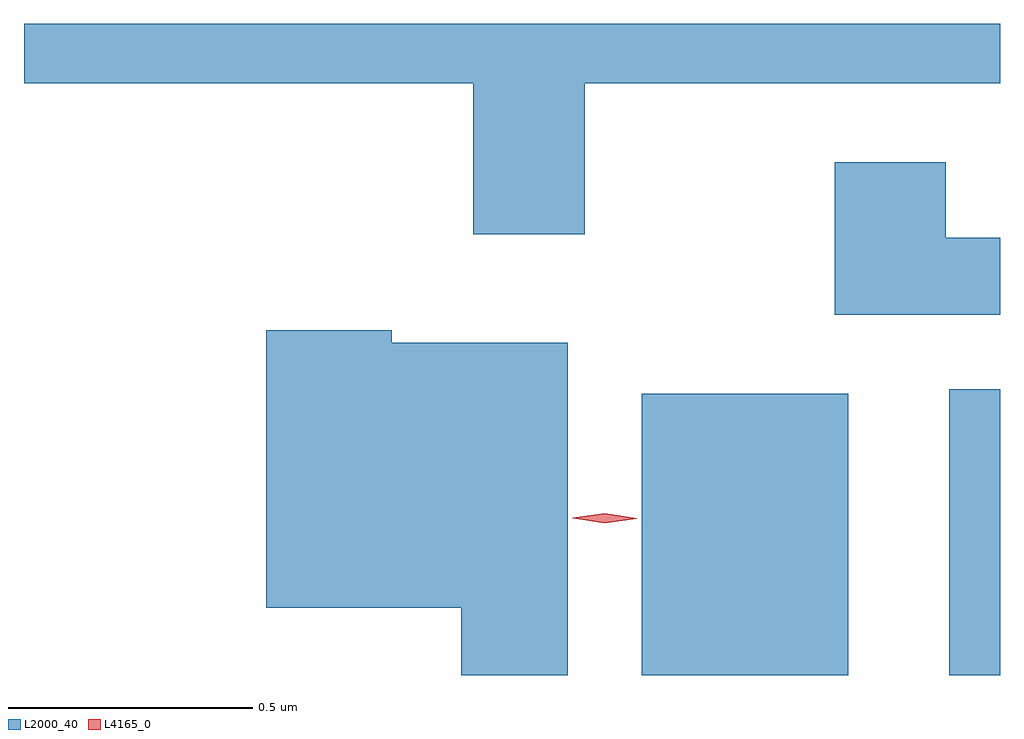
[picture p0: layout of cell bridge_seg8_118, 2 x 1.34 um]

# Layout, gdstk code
import gdstk
lib = gdstk.Library(unit=1e-6, precision=1e-09)
def R(c, l, rs):  # rectangles x0, y0, x1, y1
    for r in rs: c.add(gdstk.rectangle(r[:2], r[2:], *l))
def P(c, l, *ps):  # polygons
    for p in ps: c.add(gdstk.Polygon(p, *l))
L2000_40 = (2000, 40)
L4165_0 = (4165, 0)

bridge_seg8_118 = lib.new_cell('bridge_seg8_118')
R(bridge_seg8_118, L2000_40, [(1707.876,1806.342,1708.299,1806.919), (1708.506,1806.342,1708.61,1806.929)])
P(bridge_seg8_118, L2000_40, [(1707.759,1807.556),(1708.61,1807.556),(1708.61,1807.678),(1706.61,1807.678),(1706.61,1807.556),(1707.531,1807.556),(1707.531,1807.246),(1707.759,1807.246)],
  [(1708.61,1807.239),(1708.499,1807.239),(1708.499,1807.394),(1708.271,1807.394),(1708.271,1807.081),(1708.61,1807.081)],
  [(1707.724,1807.024),(1707.364,1807.024),(1707.364,1807.049),(1707.106,1807.049),(1707.106,1806.481),(1707.506,1806.481),(1707.506,1806.342),(1707.724,1806.342)])
P(bridge_seg8_118, L4165_0, [(1707.8,1806.654),(1707.734,1806.664),(1707.734,1806.665),(1707.734,1806.665),(1707.8,1806.674),(1707.866,1806.664),(1707.866,1806.664),(1707.866,1806.663)])

lib.write_gds('bridge_seg8_118.gds')
